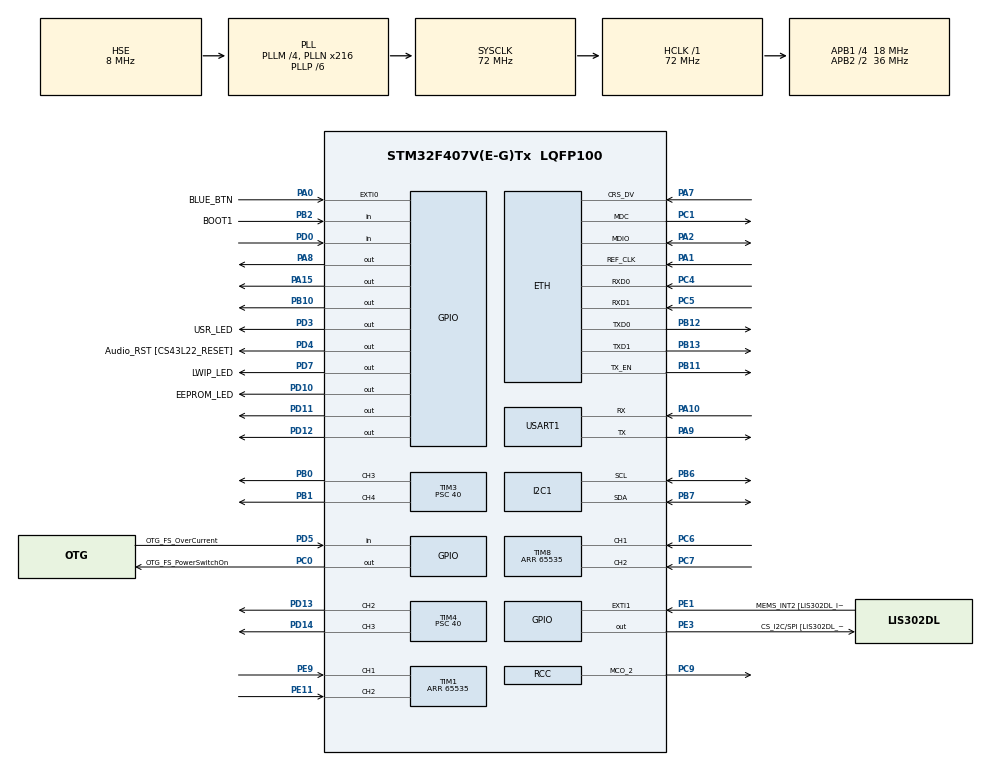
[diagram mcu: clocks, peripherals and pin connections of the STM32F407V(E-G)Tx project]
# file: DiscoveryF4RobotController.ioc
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ETH.MACAddr=02\:80\:E1\:01\:02\:04
ETH.MediaInterface=ETH_MEDIA_INTERFACE_RMII
ETH.PhyAddress=0
FREERTOS.HEAP_NUMBER=5
FREERTOS.Tasks01=defaultTask,0,512,StartDefaultTask,Default,NULL,Dynamic,NULL,NULL
FREERTOS.configENABLE_FPU=1
FREERTOS.configUSE_TIMERS=1
LWIP.ARP_MAXAGE=6000
LWIP.CHECKSUM_BY_HARDWARE=1
LWIP.CHECKSUM_CHECK_IP=1
LWIP.CHECKSUM_CHECK_TCP=1
LWIP.CHECKSUM_GEN_IP=1
LWIP.CHECKSUM_GEN_TCP=1
LWIP.GATEWAY_ADDRESS=198.168.002.001
LWIP.IP_ADDRESS=192.168.002.114
LWIP.LWIP_ARP=1
LWIP.LWIP_DHCP=1
LWIP.MEMP_NUM_TCP_SEG=24
LWIP.MEM_SIZE=2048
LWIP.NETMASK_ADDRESS=255.255.255.000
LWIP.TCP_MSS=460
LWIP.TCP_SND_BUF=1840
LWIP.TCP_WND=2048
LWIP.Version=v2.1.2_Cube
Mcu.Family=STM32F4
Mcu.Name=STM32F407V(E-G)Tx
Mcu.Package=LQFP100
NVIC.ETH_IRQn=true\:5\:0\:true\:false\:true\:true\:false\:true
NVIC.EXTI0_IRQn=true\:5\:0\:false\:false\:true\:true\:true\:true
NVIC.FLASH_IRQn=true\:5\:0\:false\:false\:true\:true\:true\:true
NVIC.I2C1_ER_IRQn=true\:5\:0\:false\:false\:true\:true\:true\:true
NVIC.I2C1_EV_IRQn=true\:5\:0\:false\:false\:true\:true\:true\:true
NVIC.PVD_IRQn=true\:5\:0\:false\:false\:true\:true\:true\:true
NVIC.PriorityGroup=NVIC_PRIORITYGROUP_4
NVIC.RCC_IRQn=true\:5\:0\:false\:false\:true\:true\:true\:false
NVIC.TIM1_BRK_TIM9_IRQn=true\:5\:0\:false\:false\:true\:true\:true\:true
NVIC.TIM1_CC_IRQn=true\:5\:0\:false\:false\:true\:true\:true\:true
NVIC.TIM1_TRG_COM_TIM11_IRQn=true\:5\:0\:false\:false\:true\:true\:true\:true
NVIC.TIM1_UP_TIM10_IRQn=true\:5\:0\:false\:false\:true\:true\:true\:true
NVIC.TIM2_IRQn=true\:0\:0\:false\:false\:true\:false\:false\:true
NVIC.TIM3_IRQn=true\:5\:0\:false\:false\:true\:true\:true\:true
NVIC.TIM4_IRQn=true\:5\:0\:false\:false\:true\:true\:true\:true
NVIC.TIM8_BRK_TIM12_IRQn=true\:5\:0\:false\:false\:true\:true\:true\:true
NVIC.TIM8_CC_IRQn=true\:5\:0\:false\:false\:true\:true\:true\:true
NVIC.TIM8_TRG_COM_TIM14_IRQn=true\:5\:0\:false\:false\:true\:true\:true\:true
NVIC.TIM8_UP_TIM13_IRQn=true\:5\:0\:false\:false\:true\:true\:true\:true
NVIC.TimeBase=TIM2_IRQn
NVIC.TimeBaseIP=TIM2
NVIC.USART1_IRQn=true\:5\:0\:false\:false\:true\:true\:true\:true
PA0-WKUP.GPIO_Label=BLUE_BTN
PA0-WKUP.GPIO_PuPd=GPIO_PULLDOWN
PA0-WKUP.Signal=GPXTI0
PA1.Mode=RMII
PA1.Signal=ETH_REF_CLK
PA10.Mode=Asynchronous
PA10.Signal=USART1_RX
PA13.GPIO_Label=SWDIO
PA13.Mode=Serial_Wire
PA13.Signal=SYS_JTMS-SWDIO
PA14.GPIO_Label=SWCLK
PA14.Mode=Serial_Wire
PA14.Signal=SYS_JTCK-SWCLK
PA15.Signal=GPIO_Output
PA2.Mode=RMII
PA2.Signal=ETH_MDIO
PA7.Mode=RMII
PA7.Signal=ETH_CRS_DV
PA8.Signal=GPIO_Output
PA9.Mode=Asynchronous
PA9.Signal=USART1_TX
PB0.Signal=S_TIM3_CH3
PB1.Signal=S_TIM3_CH4
PB10.GPIO_PuPd=GPIO_NOPULL
PB10.GPIO_Speed=GPIO_SPEED_FREQ_LOW
PB10.PinState=GPIO_PIN_SET
PB10.Signal=GPIO_Output
PB11.Mode=RMII
PB11.Signal=ETH_TX_EN
PB12.Mode=RMII
PB12.Signal=ETH_TXD0
PB13.Mode=RMII
PB13.Signal=ETH_TXD1
PB2.GPIO_Label=BOOT1
PB2.GPIO_Mode=GPIO_MODE_INPUT
PB2.GPIO_PuPd=GPIO_NOPULL
PB2.Signal=GPIO_Input
PB6.Mode=I2C
PB6.Signal=I2C1_SCL
PB7.Mode=I2C
PB7.Signal=I2C1_SDA
PC0.GPIO_Label=OTG_FS_PowerSwitchOn
PC0.GPIO_PuPd=GPIO_NOPULL
PC0.GPIO_Speed=GPIO_SPEED_FREQ_LOW
PC0.PinState=GPIO_PIN_SET
PC0.Signal=GPIO_Output
PC1.Mode=RMII
PC1.Signal=ETH_MDC
PC4.Mode=RMII
PC4.Signal=ETH_RXD0
PC5.Mode=RMII
PC5.Signal=ETH_RXD1
PC6.Signal=S_TIM8_CH1
PC7.Signal=S_TIM8_CH2
PC9.Mode=Clock-out-2
PC9.Signal=RCC_MCO_2
PD0.Signal=GPIO_Input
PD10.GPIO_Label=EEPROM_LED
PD10.Signal=GPIO_Output
PD11.Signal=GPIO_Output
PD12.Signal=GPIO_Output
PD13.Signal=S_TIM4_CH2
PD14.Signal=S_TIM4_CH3
PD3.GPIO_Label=USR_LED
PD3.Signal=GPIO_Output
PD4.GPIO_Label=Audio_RST [CS43L22_RESET]
PD4.GPIO_PuPd=GPIO_NOPULL
PD4.GPIO_Speed=GPIO_SPEED_FREQ_LOW
PD4.Signal=GPIO_Output
PD5.GPIO_Label=OTG_FS_OverCurrent
PD5.GPIO_Mode=GPIO_MODE_INPUT
PD5.GPIO_PuPd=GPIO_NOPULL
PD5.Signal=GPIO_Input
PD7.GPIO_Label=LWIP_LED
PD7.Signal=GPIO_Output
PE1.GPIO_Label=MEMS_INT2 [LIS302DL_INT2]
PE1.GPIO_ModeDefaultEXTI=GPIO_MODE_EVT_RISING
PE1.GPIO_PuPd=GPIO_NOPULL
PE1.Signal=GPXTI1
PE11.Signal=S_TIM1_CH2
PE3.GPIO_Label=CS_I2C/SPI [LIS302DL_CS_I2C/SPI]
PE3.GPIO_PuPd=GPIO_NOPULL
PE3.GPIO_Speed=GPIO_SPEED_FREQ_LOW
PE3.Signal=GPIO_Output
PE9.Signal=S_TIM1_CH1
PH0-OSC_IN.GPIO_Label=PH0-OSC_IN
PH0-OSC_IN.Mode=HSE-External-Oscillator
PH0-OSC_IN.Signal=RCC_OSC_IN
PH1-OSC_OUT.GPIO_Label=PH1-OSC_OUT
PH1-OSC_OUT.Mode=HSE-External-Oscillator
PH1-OSC_OUT.Signal=RCC_OSC_OUT
ProjectManager.HeapSize=0x200
ProjectManager.StackSize=0x400
ProjectManager.TargetToolchain=STM32CubeIDE
RCC.48MHZClocksFreq_Value=61714285.71428572
RCC.AHBFreq_Value=72000000
RCC.APB1CLKDivider=RCC_HCLK_DIV4
RCC.APB1Freq_Value=18000000
RCC.APB1TimFreq_Value=36000000
RCC.APB2CLKDivider=RCC_HCLK_DIV2
RCC.APB2Freq_Value=36000000
RCC.APB2TimFreq_Value=72000000
RCC.CortexFreq_Value=72000000
RCC.HCLKFreq_Value=72000000
RCC.HSE_VALUE=8000000
RCC.HSI_VALUE=16000000
RCC.LSE_VALUE=32768
RCC.PLLM=4
RCC.PLLN=216
RCC.PLLP=RCC_PLLP_DIV6
RCC.PLLQ=7
RCC.PLLSourceVirtual=RCC_PLLSOURCE_HSE
RCC.RCC_MCO2Source=RCC_MCO2SOURCE_HSE
RCC.SYSCLKFreq_VALUE=72000000
RCC.SYSCLKSource=RCC_SYSCLKSOURCE_PLLCLK
RCC.VCOOutputFreq_Value=432000000
SH.S_TIM1_CH1.0=TIM1_CH1,Encoder_Interface
SH.S_TIM1_CH2.0=TIM1_CH2,Encoder_Interface
SH.S_TIM3_CH3.0=TIM3_CH3,PWM Generation3 CH3
SH.S_TIM3_CH4.0=TIM3_CH4,PWM Generation4 CH4
SH.S_TIM4_CH2.0=TIM4_CH2,PWM Generation2 CH2
SH.S_TIM4_CH3.0=TIM4_CH3,PWM Generation3 CH3
SH.S_TIM8_CH1.0=TIM8_CH1,Encoder_Interface
SH.S_TIM8_CH2.0=TIM8_CH2,Encoder_Interface
TIM1.AutoReloadPreload=TIM_AUTORELOAD_PRELOAD_ENABLE
TIM1.EncoderMode=TIM_ENCODERMODE_TI12
TIM1.IC1Filter=10
TIM1.IC1Prescaler=TIM_ICPSC_DIV1
TIM1.IC2Filter=10
TIM1.IC2Polarity=TIM_ICPOLARITY_FALLING
TIM1.IC2Prescaler=TIM_ICPSC_DIV1
TIM1.Period=65535
TIM3.Channel-PWM\ Generation3\ CH3=TIM_CHANNEL_3
TIM3.Channel-PWM\ Generation4\ CH4=TIM_CHANNEL_4
TIM3.Period=256
TIM3.Prescaler=40
TIM4.Channel-PWM\ Generation2\ CH2=TIM_CHANNEL_2
TIM4.Channel-PWM\ Generation3\ CH3=TIM_CHANNEL_3
TIM4.Period=256
TIM4.Prescaler=40
TIM8.AutoReloadPreload=TIM_AUTORELOAD_PRELOAD_ENABLE
TIM8.EncoderMode=TIM_ENCODERMODE_TI12
TIM8.IC1Filter=10
TIM8.IC1Prescaler=TIM_ICPSC_DIV1
TIM8.IC2Filter=10
TIM8.IC2Polarity=TIM_ICPOLARITY_FALLING
TIM8.IC2Prescaler=TIM_ICPSC_DIV1
TIM8.Period=65535
TIM8.TIM_MasterOutputTrigger=TIM_TRGO_RESET
USART1.VirtualMode=VM_ASYNC
VP_FREERTOS_VS_CMSIS_V1.Mode=CMSIS_V1
VP_LWIP_VS_Enabled.Mode=Enabled
VP_SYS_VS_tim2.Mode=TIM2
VP_TIM3_VS_ClockSourceINT.Mode=Internal
VP_TIM4_VS_ClockSourceINT.Mode=Internal
board=STM32F407G-DISC1

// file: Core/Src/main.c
/* USER CODE BEGIN Header */
/**
  ******************************************************************************
  * @file           : main.c
  * @brief          : Main program body
  ******************************************************************************
  * @attention
  *
  * <h2><center>&copy; Copyright (c) 2020 STMicroelectronics.
  * All rights reserved.</center></h2>
  *
  * This software component is licensed by ST under Ultimate Liberty license
  * SLA0044, the "License"; You may not use this file except in compliance with
  * the License. You may obtain a copy of the License at:
  *                             www.st.com/SLA0044
  *
  ******************************************************************************
  */
/* USER CODE END Header */

#include "main.h"
#include "cmsis_os.h"
#include "lwip.h"

/* USER CODE BEGIN Includes */
#include "mainpp.h"
#include "lwip_init.h"
/* USER CODE END Includes */

I2C_HandleTypeDef hi2c1;

TIM_HandleTypeDef htim1;
TIM_HandleTypeDef htim3;
TIM_HandleTypeDef htim4;
TIM_HandleTypeDef htim8;

UART_HandleTypeDef huart1;

osThreadId defaultTaskHandle;
/* USER CODE BEGIN PV */
osTimerId dhcp_setup_timerHandle;
/* USER CODE END PV */

void SystemClock_Config(void);
static void MX_GPIO_Init(void);
static void MX_TIM1_Init(void);
static void MX_TIM8_Init(void);
static void MX_TIM3_Init(void);
static void MX_TIM4_Init(void);
static void MX_I2C1_Init(void);
static void MX_USART1_UART_Init(void);
void StartDefaultTask(void const * argument);

int main(void)
{
  /* USER CODE BEGIN 1 */
	memory_setup();
  /* USER CODE END 1 */

  /* MCU Configuration--------------------------------------------------------*/

  /* Reset of all peripherals, Initializes the Flash interface and the Systick. */
  HAL_Init();

  /* Configure the system clock */
  SystemClock_Config();

  /* Initialize all configured peripherals */
  MX_GPIO_Init();
  MX_TIM1_Init();
  MX_TIM8_Init();
  MX_TIM3_Init();
  MX_TIM4_Init();
  MX_I2C1_Init();
  MX_USART1_UART_Init();

  /* Create the thread(s) */
  /* definition and creation of defaultTask */
  osThreadDef(defaultTask, StartDefaultTask, osPriorityNormal, 0, 512);
  defaultTaskHandle = osThreadCreate(osThread(defaultTask), NULL);

  /* USER CODE BEGIN RTOS_THREADS */
  /* add threads, ... */
  osTimerDef(dhcp_setup_timer, finish_dhcp_setup);
  dhcp_setup_timerHandle = osTimerCreate(osTimer(dhcp_setup_timer), osTimerOnce, NULL);
  /* USER CODE END RTOS_THREADS */

  /* Start scheduler */
  osKernelStart();

  /* We should never get here as control is now taken by the scheduler */
  /* Infinite loop */
  while (1)
  {

  }
}

void SystemClock_Config(void)
{
  RCC_OscInitTypeDef RCC_OscInitStruct = {0};
  RCC_ClkInitTypeDef RCC_ClkInitStruct = {0};

  /** Configure the main internal regulator output voltage
  */
  __HAL_RCC_PWR_CLK_ENABLE();
  __HAL_PWR_VOLTAGESCALING_CONFIG(PWR_REGULATOR_VOLTAGE_SCALE1);
  /** Initializes the CPU, AHB and APB busses clocks
  */
  RCC_OscInitStruct.OscillatorType = RCC_OSCILLATORTYPE_HSE;
  RCC_OscInitStruct.HSEState = RCC_HSE_ON;
  RCC_OscInitStruct.PLL.PLLState = RCC_PLL_ON;
  RCC_OscInitStruct.PLL.PLLSource = RCC_PLLSOURCE_HSE;
  RCC_OscInitStruct.PLL.PLLM = 4;
  RCC_OscInitStruct.PLL.PLLN = 216;
  RCC_OscInitStruct.PLL.PLLP = RCC_PLLP_DIV6;
  RCC_OscInitStruct.PLL.PLLQ = 7;
  if (HAL_RCC_OscConfig(&RCC_OscInitStruct) != HAL_OK)
  {
    Error_Handler();
  }
  /** Initializes the CPU, AHB and APB busses clocks
  */
  RCC_ClkInitStruct.ClockType = RCC_CLOCKTYPE_HCLK|RCC_CLOCKTYPE_SYSCLK
                              |RCC_CLOCKTYPE_PCLK1|RCC_CLOCKTYPE_PCLK2;
  RCC_ClkInitStruct.SYSCLKSource = RCC_SYSCLKSOURCE_PLLCLK;
  RCC_ClkInitStruct.AHBCLKDivider = RCC_SYSCLK_DIV1;
  RCC_ClkInitStruct.APB1CLKDivider = RCC_HCLK_DIV4;
  RCC_ClkInitStruct.APB2CLKDivider = RCC_HCLK_DIV2;

  if (HAL_RCC_ClockConfig(&RCC_ClkInitStruct, FLASH_LATENCY_2) != HAL_OK)
  {
    Error_Handler();
  }
  HAL_RCC_MCOConfig(RCC_MCO2, RCC_MCO2SOURCE_HSE, RCC_MCODIV_1);
}

static void MX_I2C1_Init(void)
{

  /* USER CODE BEGIN I2C1_Init 0 */
	HAL_I2C_DeInit(&hi2c1);

  /* USER CODE END I2C1_Init 0 */

  hi2c1.Instance = I2C1;
  hi2c1.Init.ClockSpeed = 100000;
  hi2c1.Init.DutyCycle = I2C_DUTYCYCLE_2;
  hi2c1.Init.OwnAddress1 = 0;
  hi2c1.Init.AddressingMode = I2C_ADDRESSINGMODE_7BIT;
  hi2c1.Init.DualAddressMode = I2C_DUALADDRESS_DISABLE;
  hi2c1.Init.OwnAddress2 = 0;
  hi2c1.Init.GeneralCallMode = I2C_GENERALCALL_DISABLE;
  hi2c1.Init.NoStretchMode = I2C_NOSTRETCH_DISABLE;
  if (HAL_I2C_Init(&hi2c1) != HAL_OK)
  {
    Error_Handler();
  }

}

static void MX_TIM1_Init(void)
{

  /* USER CODE BEGIN TIM1_Init 0 */
	HAL_TIM_Encoder_DeInit(&htim1);
  /* USER CODE END TIM1_Init 0 */

  TIM_Encoder_InitTypeDef sConfig = {0};
  TIM_MasterConfigTypeDef sMasterConfig = {0};

  htim1.Instance = TIM1;
  htim1.Init.Prescaler = 0;
  htim1.Init.CounterMode = TIM_COUNTERMODE_UP;
  htim1.Init.Period = 65535;
  htim1.Init.ClockDivision = TIM_CLOCKDIVISION_DIV1;
  htim1.Init.RepetitionCounter = 0;
  htim1.Init.AutoReloadPreload = TIM_AUTORELOAD_PRELOAD_ENABLE;
  sConfig.EncoderMode = TIM_ENCODERMODE_TI12;
  sConfig.IC1Polarity = TIM_ICPOLARITY_RISING;
  sConfig.IC1Selection = TIM_ICSELECTION_DIRECTTI;
  sConfig.IC1Prescaler = TIM_ICPSC_DIV1;
  sConfig.IC1Filter = 10;
  sConfig.IC2Polarity = TIM_ICPOLARITY_FALLING;
  sConfig.IC2Selection = TIM_ICSELECTION_DIRECTTI;
  sConfig.IC2Prescaler = TIM_ICPSC_DIV1;
  sConfig.IC2Filter = 10;
  if (HAL_TIM_Encoder_Init(&htim1, &sConfig) != HAL_OK)
  {
    Error_Handler();
  }
  sMasterConfig.MasterOutputTrigger = TIM_TRGO_RESET;
  sMasterConfig.MasterSlaveMode = TIM_MASTERSLAVEMODE_DISABLE;
  if (HAL_TIMEx_MasterConfigSynchronization(&htim1, &sMasterConfig) != HAL_OK)
  {
    Error_Handler();
  }

}

static void MX_TIM3_Init(void)
{

  /* USER CODE BEGIN TIM3_Init 0 */
	HAL_TIM_Base_DeInit(&htim3);
  /* USER CODE END TIM3_Init 0 */

  TIM_ClockConfigTypeDef sClockSourceConfig = {0};
  TIM_MasterConfigTypeDef sMasterConfig = {0};
  TIM_OC_InitTypeDef sConfigOC = {0};

  htim3.Instance = TIM3;
  htim3.Init.Prescaler = 40;
  htim3.Init.CounterMode = TIM_COUNTERMODE_UP;
  htim3.Init.Period = 256;
  htim3.Init.ClockDivision = TIM_CLOCKDIVISION_DIV1;
  htim3.Init.AutoReloadPreload = TIM_AUTORELOAD_PRELOAD_DISABLE;
  if (HAL_TIM_Base_Init(&htim3) != HAL_OK)
  {
    Error_Handler();
  }
  sClockSourceConfig.ClockSource = TIM_CLOCKSOURCE_INTERNAL;
  if (HAL_TIM_ConfigClockSource(&htim3, &sClockSourceConfig) != HAL_OK)
  {
    Error_Handler();
  }
  if (HAL_TIM_PWM_Init(&htim3) != HAL_OK)
  {
    Error_Handler();
  }
  sMasterConfig.MasterOutputTrigger = TIM_TRGO_RESET;
  sMasterConfig.MasterSlaveMode = TIM_MASTERSLAVEMODE_DISABLE;
  if (HAL_TIMEx_MasterConfigSynchronization(&htim3, &sMasterConfig) != HAL_OK)
  {
    Error_Handler();
  }
  sConfigOC.OCMode = TIM_OCMODE_PWM1;
  sConfigOC.Pulse = 0;
  sConfigOC.OCPolarity = TIM_OCPOLARITY_HIGH;
  sConfigOC.OCFastMode = TIM_OCFAST_DISABLE;
  if (HAL_TIM_PWM_ConfigChannel(&htim3, &sConfigOC, TIM_CHANNEL_3) != HAL_OK)
  {
    Error_Handler();
  }
  if (HAL_TIM_PWM_ConfigChannel(&htim3, &sConfigOC, TIM_CHANNEL_4) != HAL_OK)
  {
    Error_Handler();
  }
  HAL_TIM_MspPostInit(&htim3);

}

static void MX_TIM4_Init(void)
{

  /* USER CODE BEGIN TIM4_Init 0 */
	HAL_TIM_Base_DeInit(&htim4);
  /* USER CODE END TIM4_Init 0 */

  TIM_ClockConfigTypeDef sClockSourceConfig = {0};
  TIM_MasterConfigTypeDef sMasterConfig = {0};
  TIM_OC_InitTypeDef sConfigOC = {0};

  htim4.Instance = TIM4;
  htim4.Init.Prescaler = 40;
  htim4.Init.CounterMode = TIM_COUNTERMODE_UP;
  htim4.Init.Period = 256;
  htim4.Init.ClockDivision = TIM_CLOCKDIVISION_DIV1;
  htim4.Init.AutoReloadPreload = TIM_AUTORELOAD_PRELOAD_DISABLE;
  if (HAL_TIM_Base_Init(&htim4) != HAL_OK)
  {
    Error_Handler();
  }
  sClockSourceConfig.ClockSource = TIM_CLOCKSOURCE_INTERNAL;
  if (HAL_TIM_ConfigClockSource(&htim4, &sClockSourceConfig) != HAL_OK)
  {
    Error_Handler();
  }
  if (HAL_TIM_PWM_Init(&htim4) != HAL_OK)
  {
    Error_Handler();
  }
  sMasterConfig.MasterOutputTrigger = TIM_TRGO_RESET;
  sMasterConfig.MasterSlaveMode = TIM_MASTERSLAVEMODE_DISABLE;
  if (HAL_TIMEx_MasterConfigSynchronization(&htim4, &sMasterConfig) != HAL_OK)
  {
    Error_Handler();
  }
  sConfigOC.OCMode = TIM_OCMODE_PWM1;
  sConfigOC.Pulse = 0;
  sConfigOC.OCPolarity = TIM_OCPOLARITY_HIGH;
  sConfigOC.OCFastMode = TIM_OCFAST_DISABLE;
  if (HAL_TIM_PWM_ConfigChannel(&htim4, &sConfigOC, TIM_CHANNEL_2) != HAL_OK)
  {
    Error_Handler();
  }
  if (HAL_TIM_PWM_ConfigChannel(&htim4, &sConfigOC, TIM_CHANNEL_3) != HAL_OK)
  {
    Error_Handler();
  }
  HAL_TIM_MspPostInit(&htim4);

}

static void MX_TIM8_Init(void)
{

  /* USER CODE BEGIN TIM8_Init 0 */
	HAL_TIM_Encoder_DeInit(&htim8);
  /* USER CODE END TIM8_Init 0 */

  TIM_Encoder_InitTypeDef sConfig = {0};
  TIM_MasterConfigTypeDef sMasterConfig = {0};

  htim8.Instance = TIM8;
  htim8.Init.Prescaler = 0;
  htim8.Init.CounterMode = TIM_COUNTERMODE_UP;
  htim8.Init.Period = 65535;
  htim8.Init.ClockDivision = TIM_CLOCKDIVISION_DIV1;
  htim8.Init.RepetitionCounter = 0;
  htim8.Init.AutoReloadPreload = TIM_AUTORELOAD_PRELOAD_ENABLE;
  sConfig.EncoderMode = TIM_ENCODERMODE_TI12;
  sConfig.IC1Polarity = TIM_ICPOLARITY_RISING;
  sConfig.IC1Selection = TIM_ICSELECTION_DIRECTTI;
  sConfig.IC1Prescaler = TIM_ICPSC_DIV1;
  sConfig.IC1Filter = 10;
  sConfig.IC2Polarity = TIM_ICPOLARITY_FALLING;
  sConfig.IC2Selection = TIM_ICSELECTION_DIRECTTI;
  sConfig.IC2Prescaler = TIM_ICPSC_DIV1;
  sConfig.IC2Filter = 10;
  if (HAL_TIM_Encoder_Init(&htim8, &sConfig) != HAL_OK)
  {
    Error_Handler();
  }
  sMasterConfig.MasterOutputTrigger = TIM_TRGO_RESET;
  sMasterConfig.MasterSlaveMode = TIM_MASTERSLAVEMODE_DISABLE;
  if (HAL_TIMEx_MasterConfigSynchronization(&htim8, &sMasterConfig) != HAL_OK)
  {
    Error_Handler();
  }

}

static void MX_USART1_UART_Init(void)
{

  /* USER CODE BEGIN USART1_Init 0 */
	HAL_UART_DeInit(&huart1);
  /* USER CODE END USART1_Init 0 */

  huart1.Instance = USART1;
  huart1.Init.BaudRate = 115200;
  huart1.Init.WordLength = UART_WORDLENGTH_8B;
  huart1.Init.StopBits = UART_STOPBITS_1;
  huart1.Init.Parity = UART_PARITY_NONE;
  huart1.Init.Mode = UART_MODE_TX_RX;
  huart1.Init.HwFlowCtl = UART_HWCONTROL_NONE;
  huart1.Init.OverSampling = UART_OVERSAMPLING_16;
  if (HAL_UART_Init(&huart1) != HAL_OK)
  {
    Error_Handler();
  }

}

static void MX_GPIO_Init(void)
{
  GPIO_InitTypeDef GPIO_InitStruct = {0};

  /* GPIO Ports Clock Enable */
  __HAL_RCC_GPIOE_CLK_ENABLE();
  __HAL_RCC_GPIOH_CLK_ENABLE();
  __HAL_RCC_GPIOC_CLK_ENABLE();
  __HAL_RCC_GPIOA_CLK_ENABLE();
  __HAL_RCC_GPIOB_CLK_ENABLE();
  __HAL_RCC_GPIOD_CLK_ENABLE();

  /*Configure GPIO pin Output Level */
  HAL_GPIO_WritePin(CS_I2C_SPI_GPIO_Port, CS_I2C_SPI_Pin, GPIO_PIN_RESET);

  /*Configure GPIO pin Output Level */
  HAL_GPIO_WritePin(OTG_FS_PowerSwitchOn_GPIO_Port, OTG_FS_PowerSwitchOn_Pin, GPIO_PIN_SET);

  /*Configure GPIO pin Output Level */
  HAL_GPIO_WritePin(GPIOB, GPIO_PIN_10, GPIO_PIN_SET);

  /*Configure GPIO pin Output Level */
  HAL_GPIO_WritePin(GPIOD, EEPROM_LED_Pin|GPIO_PIN_11|GPIO_PIN_12|USR_LED_Pin
                          |Audio_RST_Pin|LWIP_LED_Pin, GPIO_PIN_RESET);

  /*Configure GPIO pin Output Level */
  HAL_GPIO_WritePin(GPIOA, GPIO_PIN_8|GPIO_PIN_15, GPIO_PIN_RESET);

  /*Configure GPIO pin : CS_I2C_SPI_Pin */
  GPIO_InitStruct.Pin = CS_I2C_SPI_Pin;
  GPIO_InitStruct.Mode = GPIO_MODE_OUTPUT_PP;
  GPIO_InitStruct.Pull = GPIO_NOPULL;
  GPIO_InitStruct.Speed = GPIO_SPEED_FREQ_LOW;
  HAL_GPIO_Init(CS_I2C_SPI_GPIO_Port, &GPIO_InitStruct);

  /*Configure GPIO pin : OTG_FS_PowerSwitchOn_Pin */
  GPIO_InitStruct.Pin = OTG_FS_PowerSwitchOn_Pin;
  GPIO_InitStruct.Mode = GPIO_MODE_OUTPUT_PP;
  GPIO_InitStruct.Pull = GPIO_NOPULL;
  GPIO_InitStruct.Speed = GPIO_SPEED_FREQ_LOW;
  HAL_GPIO_Init(OTG_FS_PowerSwitchOn_GPIO_Port, &GPIO_InitStruct);

  /*Configure GPIO pin : BLUE_BTN_Pin */
  GPIO_InitStruct.Pin = BLUE_BTN_Pin;
  GPIO_InitStruct.Mode = GPIO_MODE_IT_RISING;
  GPIO_InitStruct.Pull = GPIO_PULLDOWN;
  HAL_GPIO_Init(BLUE_BTN_GPIO_Port, &GPIO_InitStruct);

  /*Configure GPIO pin : BOOT1_Pin */
  GPIO_InitStruct.Pin = BOOT1_Pin;
  GPIO_InitStruct.Mode = GPIO_MODE_INPUT;
  GPIO_InitStruct.Pull = GPIO_NOPULL;
  HAL_GPIO_Init(BOOT1_GPIO_Port, &GPIO_InitStruct);

  /*Configure GPIO pin : PB10 */
  GPIO_InitStruct.Pin = GPIO_PIN_10;
  GPIO_InitStruct.Mode = GPIO_MODE_OUTPUT_PP;
  GPIO_InitStruct.Pull = GPIO_NOPULL;
  GPIO_InitStruct.Speed = GPIO_SPEED_FREQ_LOW;
  HAL_GPIO_Init(GPIOB, &GPIO_InitStruct);

  /*Configure GPIO pins : EEPROM_LED_Pin PD11 PD12 USR_LED_Pin
                           Audio_RST_Pin LWIP_LED_Pin */
  GPIO_InitStruct.Pin = EEPROM_LED_Pin|GPIO_PIN_11|GPIO_PIN_12|USR_LED_Pin
                          |Audio_RST_Pin|LWIP_LED_Pin;
  GPIO_InitStruct.Mode = GPIO_MODE_OUTPUT_PP;
  GPIO_InitStruct.Pull = GPIO_NOPULL;
  GPIO_InitStruct.Speed = GPIO_SPEED_FREQ_LOW;
  HAL_GPIO_Init(GPIOD, &GPIO_InitStruct);

  /*Configure GPIO pin : PC9 */
  GPIO_InitStruct.Pin = GPIO_PIN_9;
  GPIO_InitStruct.Mode = GPIO_MODE_AF_PP;
  GPIO_InitStruct.Pull = GPIO_NOPULL;
  GPIO_InitStruct.Speed = GPIO_SPEED_FREQ_LOW;
  GPIO_InitStruct.Alternate = GPIO_AF0_MCO;
  HAL_GPIO_Init(GPIOC, &GPIO_InitStruct);

  /*Configure GPIO pins : PA8 PA15 */
  GPIO_InitStruct.Pin = GPIO_PIN_8|GPIO_PIN_15;
  GPIO_InitStruct.Mode = GPIO_MODE_OUTPUT_PP;
  GPIO_InitStruct.Pull = GPIO_NOPULL;
  GPIO_InitStruct.Speed = GPIO_SPEED_FREQ_LOW;
  HAL_GPIO_Init(GPIOA, &GPIO_InitStruct);

  /*Configure GPIO pins : PD0 OTG_FS_OverCurrent_Pin */
  GPIO_InitStruct.Pin = GPIO_PIN_0|OTG_FS_OverCurrent_Pin;
  GPIO_InitStruct.Mode = GPIO_MODE_INPUT;
  GPIO_InitStruct.Pull = GPIO_NOPULL;
  HAL_GPIO_Init(GPIOD, &GPIO_InitStruct);

  /*Configure GPIO pin : MEMS_INT2_Pin */
  GPIO_InitStruct.Pin = MEMS_INT2_Pin;
  GPIO_InitStruct.Mode = GPIO_MODE_EVT_RISING;
  GPIO_InitStruct.Pull = GPIO_NOPULL;
  HAL_GPIO_Init(MEMS_INT2_GPIO_Port, &GPIO_InitStruct);

  /* EXTI interrupt init*/
  HAL_NVIC_SetPriority(EXTI0_IRQn, 5, 0);
  HAL_NVIC_EnableIRQ(EXTI0_IRQn);

}

/* USER CODE BEGIN 4 */
//---------------------------------------------------------------

void HAL_GPIO_EXTI_Callback(uint16_t GPIO_Pin)

{
	 if(GPIO_Pin == BLUE_BTN_Pin) {
			 set_default();
	 } else{

	   __NOP();

	 }
}

/* USER CODE END 4 */

void StartDefaultTask(void const * argument)
{
  /* init code for LWIP */
//  MX_LWIP_Init();
  /* USER CODE BEGIN 5 */
  run_app(&huart1, &hi2c1, &htim3, &htim4, &htim8, &htim1);
  /* Infinite loop */
  for(;;)
  {
    osDelay(1);
  }
  /* USER CODE END 5 */
}

 /**
  * @brief  Period elapsed callback in non blocking mode
  * @note   This function is called  when TIM2 interrupt took place, inside
  * HAL_TIM_IRQHandler(). It makes a direct call to HAL_IncTick() to increment
  * a global variable "uwTick" used as application time base.
  * @param  htim : TIM handle
  * @retval None
  */
void HAL_TIM_PeriodElapsedCallback(TIM_HandleTypeDef *htim)
{
  if (htim->Instance == TIM2) {
    HAL_IncTick();
  }
}

void Error_Handler(void)
{
}

/************************ (C) COPYRIGHT STMicroelectronics *****END OF FILE****/

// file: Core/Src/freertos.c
/* USER CODE BEGIN Header */
/**
  ******************************************************************************
  * File Name          : freertos.c
  * Description        : Code for freertos applications
  ******************************************************************************
  * @attention
  *
  * <h2><center>&copy; Copyright (c) 2020 STMicroelectronics.
  * All rights reserved.</center></h2>
  *
  * This software component is licensed by ST under Ultimate Liberty license
  * SLA0044, the "License"; You may not use this file except in compliance with
  * the License. You may obtain a copy of the License at:
  *                             www.st.com/SLA0044
  *
  ******************************************************************************
  */
/* USER CODE END Header */

#include "FreeRTOS.h"
#include "task.h"
#include "main.h"

/* GetIdleTaskMemory prototype (linked to static allocation support) */
void vApplicationGetIdleTaskMemory( StaticTask_t **ppxIdleTaskTCBBuffer, StackType_t **ppxIdleTaskStackBuffer, uint32_t *pulIdleTaskStackSize );

/* GetTimerTaskMemory prototype (linked to static allocation support) */
void vApplicationGetTimerTaskMemory( StaticTask_t **ppxTimerTaskTCBBuffer, StackType_t **ppxTimerTaskStackBuffer, uint32_t *pulTimerTaskStackSize );

/* USER CODE BEGIN GET_IDLE_TASK_MEMORY */
static StaticTask_t xIdleTaskTCBBuffer;
static StackType_t xIdleStack[configMINIMAL_STACK_SIZE];

void vApplicationGetIdleTaskMemory( StaticTask_t **ppxIdleTaskTCBBuffer, StackType_t **ppxIdleTaskStackBuffer, uint32_t *pulIdleTaskStackSize )
{
  *ppxIdleTaskTCBBuffer = &xIdleTaskTCBBuffer;
  *ppxIdleTaskStackBuffer = &xIdleStack[0];
  *pulIdleTaskStackSize = configMINIMAL_STACK_SIZE;
  /* place for user code */
}
/* USER CODE END GET_IDLE_TASK_MEMORY */

/* USER CODE BEGIN GET_TIMER_TASK_MEMORY */
static StaticTask_t xTimerTaskTCBBuffer;
static StackType_t xTimerStack[configTIMER_TASK_STACK_DEPTH];

void vApplicationGetTimerTaskMemory( StaticTask_t **ppxTimerTaskTCBBuffer, StackType_t **ppxTimerTaskStackBuffer, uint32_t *pulTimerTaskStackSize )
{
  *ppxTimerTaskTCBBuffer = &xTimerTaskTCBBuffer;
  *ppxTimerTaskStackBuffer = &xTimerStack[0];
  *pulTimerTaskStackSize = configTIMER_TASK_STACK_DEPTH;
  /* place for user code */
}
/* USER CODE END GET_TIMER_TASK_MEMORY */

/************************ (C) COPYRIGHT STMicroelectronics *****END OF FILE****/
